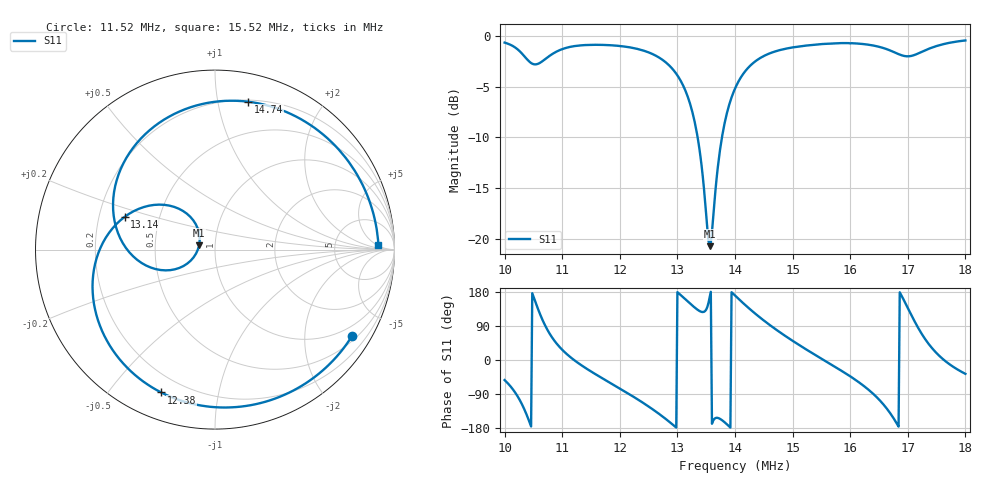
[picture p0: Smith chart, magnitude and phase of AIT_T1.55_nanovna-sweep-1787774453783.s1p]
! NanoVNA Web complex sweep
! Processing: original sample grid, no browser smoothing
# Hz S RI R 50
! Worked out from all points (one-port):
!   401 points, 10 MHz to 18 MHz, reference 50 ohm
!   lowest |S11| = -20.7 dB at 13.56 MHz (marker M1), VSWR 1.20, Z = 41.8 + j1.97 ohm
!   |S11| at or under -10 dB: 13.35 MHz to 13.77 MHz (423.7 kHz wide, 3.12 % of centre)
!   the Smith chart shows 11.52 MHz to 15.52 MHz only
!   S11 on the Smith chart (normalised r, x): 11.52 MHz: 0.65, -3.36; 12.38 MHz: 0.12, -0.69; 13.14 MHz: 0.31, +0.16; 14.74 MHz: 0.21, +1.23; 15.52 MHz: 20, +6
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1e7  0.5578 -0.7386
1.026e7  -0.2156 -0.8122
1.046e7  -0.7316 -0.0588
1.068e7  -0.1117 0.7495
1.1e7  0.7658 0.3906
1.152e7  0.7643 -0.4801
1.2e7  0.2269 -0.8613
1.238e7  -0.3 -0.7957
1.272e7  -0.6411 -0.4237
1.3e7  -0.6378 0.0106
1.314e7  -0.5039 0.1821
1.336e7  -0.2021 0.228
1.356e7  -0.0888 0.0233
1.378e7  -0.3031 -0.1138
1.4e7  -0.541 0.0936
1.43e7  -0.4567 0.5666
1.474e7  0.1846 0.8239
1.5e7  0.5556 0.6777
1.552e7  0.9106 0.0263
1.6e7  0.6706 -0.6253
1.63e7  0.2161 -0.879
1.654e7  -0.312 -0.8191
1.68e7  -0.7944 -0.2084
1.7e7  -0.5828 0.5364
1.72e7  0.1492 0.8094
1.744e7  0.777 0.4113
1.766e7  0.9134 -0.0622
1.8e7  0.7622 -0.5644
